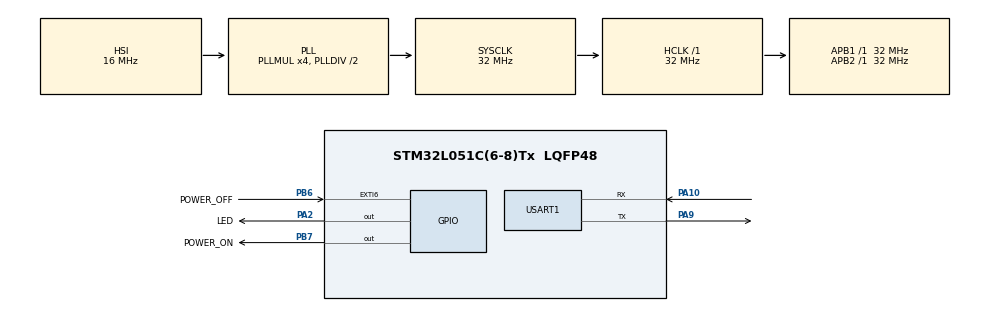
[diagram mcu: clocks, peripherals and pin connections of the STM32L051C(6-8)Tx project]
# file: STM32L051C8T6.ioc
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Mcu.Family=STM32L0
RCC.MSI_VALUE=2097000
PA10.Mode=Asynchronous
VP_TIM6_VS_ClockSourceINT.Mode=Enable_Timer
VP_RTC_VS_RTC_Activate.Mode=RTC_Enabled
PB6.GPIO_Label=POWER_OFF
VP_RTC_VS_RTC_Alarm_A_Intern.Mode=Alarm A
RCC.SYSCLKSource=RCC_SYSCLKSOURCE_PLLCLK
ProjectManager.StackSize=0x400
NVIC.RTC_IRQn=true\:0\:0\:false\:false\:true\:true\:true
USART1.VirtualMode-Asynchronous=VM_ASYNC
PA13.Signal=SYS_SWDIO
RCC.HSI16_VALUE=16000000
PA9.Mode=Asynchronous
ProjectManager.TargetToolchain=MDK-ARM V5.27
RCC.HCLKFreq_Value=32000000
RCC.APB2TimFreq_Value=32000000
PA9.Signal=USART1_TX
PB6.Signal=GPXTI6
RCC.LSE_VALUE=32768
RCC.AHBFreq_Value=32000000
RCC.HSE_VALUE=8000000
board=custom
RCC.VCOOutputFreq_Value=64000000
RCC.PLLMUL=RCC_PLLMUL_4
RCC.APB2Freq_Value=32000000
PA14.Mode=Serial_Wire
PB7.Signal=GPIO_Output
PA13.Mode=Serial_Wire
Mcu.Name=STM32L051C(6-8)Tx
RTC.Alarm-Alarm\ A=RTC_ALARM_A
PA2.Signal=GPIO_Output
PB7.GPIO_Label=POWER_ON
RCC.SYSCLKFreq_VALUE=32000000
Mcu.Package=LQFP48
PA2.GPIO_Label=LED
PA10.Signal=USART1_RX
PA14.Signal=SYS_SWCLK
VP_RTC_VS_RTC_Calendar.Mode=RTC_Calendar
ProjectManager.HeapSize=0x200
RCC.HSI_VALUE=16000000
VP_RTC_VS_RTC_WakeUp_intern.Mode=WakeUp
RCC.APB1TimFreq_Value=32000000
RCC.APB1Freq_Value=32000000

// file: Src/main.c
/* USER CODE BEGIN Header */
/**
  ******************************************************************************
  * @file           : main.c
  * @brief          : Main program body
  ******************************************************************************
  * @attention
  *
  * <h2><center>&copy; Copyright (c) 2020 STMicroelectronics.
  * All rights reserved.</center></h2>
  *
  * This software component is licensed by ST under BSD 3-Clause license,
  * the "License"; You may not use this file except in compliance with the
  * License. You may obtain a copy of the License at:
  *                        opensource.org/licenses/BSD-3-Clause
  *
  ******************************************************************************
  */
/* USER CODE END Header */

#include "main.h"
#include "rtc.h"
#include "tim.h"
#include "usart.h"
#include "gpio.h"

/* USER CODE BEGIN Includes */
#include "cmsis_os.h"
#include "stdio.h"

#include "tos_k.h"
/* USER CODE END Includes */

/* USER CODE BEGIN PTD */
#define STK_SIZE_TASK_DEMO      512

#define PRIO_TASK_DEMO          4

k_stack_t stack_task_demo[STK_SIZE_TASK_DEMO];

k_task_t task_demo;

extern void entry_task_demo(void *arg);

/* USER CODE END PTD */

/* USER CODE BEGIN PM */
void timer_callback(void *arg)
{
    printf("timer callback: %ld\n", tos_systick_get());
}

void entry_task_demo(void *arg)
{
    k_timer_t tmr;

    // 创建一个软件定时器，每6000个tick触发一次
    tos_timer_create(&tmr, 0u, 6000u, timer_callback, K_NULL, TOS_OPT_TIMER_PERIODIC);
    tos_timer_start(&tmr);

    // 此任务体内每3000个tick运行一次
    while (K_TRUE) {
        printf("entry task demo: %ld\n", tos_systick_get());
        tos_task_delay(3000);
    }
}

/* USER CODE END PM */

void SystemClock_Config(void);

int main(void)
{

  /* MCU Configuration--------------------------------------------------------*/

  /* Reset of all peripherals, Initializes the Flash interface and the Systick. */
  HAL_Init();

  /* Configure the system clock */
  SystemClock_Config();

  /* Initialize all configured peripherals */
  MX_GPIO_Init();
  MX_USART1_UART_Init();
  MX_TIM6_Init();
  MX_RTC_Init();
  /* USER CODE BEGIN 2 */

	tos_knl_init();
	(void)tos_task_create(&task_demo, "demo1", entry_task_demo, NULL,
                        PRIO_TASK_DEMO, stack_task_demo, STK_SIZE_TASK_DEMO, 0);
  tos_knl_start();
  /* USER CODE END 2 */

  /* Infinite loop */
  while (1)
  {

  }
}

void SystemClock_Config(void)
{
  RCC_OscInitTypeDef RCC_OscInitStruct = {0};
  RCC_ClkInitTypeDef RCC_ClkInitStruct = {0};
  RCC_PeriphCLKInitTypeDef PeriphClkInit = {0};

  /** Configure the main internal regulator output voltage
  */
  __HAL_PWR_VOLTAGESCALING_CONFIG(PWR_REGULATOR_VOLTAGE_SCALE1);
  /** Initializes the CPU, AHB and APB busses clocks
  */
  RCC_OscInitStruct.OscillatorType = RCC_OSCILLATORTYPE_HSI|RCC_OSCILLATORTYPE_LSI;
  RCC_OscInitStruct.HSIState = RCC_HSI_ON;
  RCC_OscInitStruct.HSICalibrationValue = RCC_HSICALIBRATION_DEFAULT;
  RCC_OscInitStruct.LSIState = RCC_LSI_ON;
  RCC_OscInitStruct.PLL.PLLState = RCC_PLL_ON;
  RCC_OscInitStruct.PLL.PLLSource = RCC_PLLSOURCE_HSI;
  RCC_OscInitStruct.PLL.PLLMUL = RCC_PLLMUL_4;
  RCC_OscInitStruct.PLL.PLLDIV = RCC_PLLDIV_2;
  if (HAL_RCC_OscConfig(&RCC_OscInitStruct) != HAL_OK)
  {
    Error_Handler();
  }
  /** Initializes the CPU, AHB and APB busses clocks
  */
  RCC_ClkInitStruct.ClockType = RCC_CLOCKTYPE_HCLK|RCC_CLOCKTYPE_SYSCLK
                              |RCC_CLOCKTYPE_PCLK1|RCC_CLOCKTYPE_PCLK2;
  RCC_ClkInitStruct.SYSCLKSource = RCC_SYSCLKSOURCE_PLLCLK;
  RCC_ClkInitStruct.AHBCLKDivider = RCC_SYSCLK_DIV1;
  RCC_ClkInitStruct.APB1CLKDivider = RCC_HCLK_DIV1;
  RCC_ClkInitStruct.APB2CLKDivider = RCC_HCLK_DIV1;

  if (HAL_RCC_ClockConfig(&RCC_ClkInitStruct, FLASH_LATENCY_1) != HAL_OK)
  {
    Error_Handler();
  }
  PeriphClkInit.PeriphClockSelection = RCC_PERIPHCLK_USART1|RCC_PERIPHCLK_RTC;
  PeriphClkInit.Usart1ClockSelection = RCC_USART1CLKSOURCE_PCLK2;
  PeriphClkInit.RTCClockSelection = RCC_RTCCLKSOURCE_LSI;
  if (HAL_RCCEx_PeriphCLKConfig(&PeriphClkInit) != HAL_OK)
  {
    Error_Handler();
  }
}

void Error_Handler(void)
{
}

/************************ (C) COPYRIGHT STMicroelectronics *****END OF FILE****/
